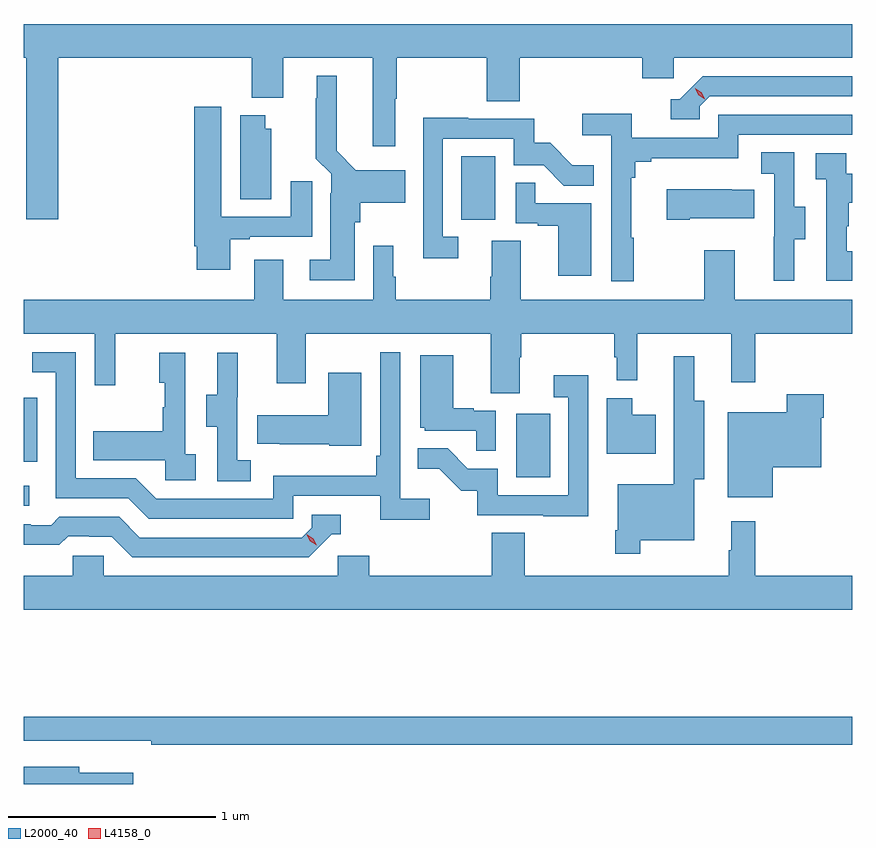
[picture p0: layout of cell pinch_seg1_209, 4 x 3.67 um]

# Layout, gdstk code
import gdstk
lib = gdstk.Library(unit=1e-6, precision=1e-09)
def R(c, l, rs):  # rectangles x0, y0, x1, y1
    for r in rs: c.add(gdstk.rectangle(r[:2], r[2:], *l))
def P(c, l, *ps):  # polygons
    for p in ps: c.add(gdstk.Polygon(p, *l))
L2000_40 = (2000, 40)
L4158_0 = (4158, 0)

pinch_seg1_209 = lib.new_cell('pinch_seg1_209')
R(pinch_seg1_209, L2000_40, [(984.163,576.21,984.19,576.306), (986.54,576.348,986.704,576.655), (984.163,576.423,984.228,576.732), (986.276,577.59,986.44,577.897)])
P(pinch_seg1_209, L2000_40, [(984.329,578.372),(985.265,578.372),(985.265,578.18),(985.417,578.18),(985.417,578.372),(985.847,578.372),(985.847,577.947),(985.957,577.947),(985.957,578.176),(985.965,578.176),(985.965,578.372),(986.398,578.372),(986.398,578.164),(986.558,578.164),(986.558,578.372),(987.149,578.372),(987.149,578.274),(987.3,578.274),(987.3,578.372),(988.163,578.372),(988.163,578.536),(984.163,578.536),(984.163,578.372),(984.176,578.372),(984.176,577.593),(984.329,577.593)],
  [(985.762,577.578),(985.788,577.578),(985.788,577.673),(986.005,577.673),(986.005,577.831),(985.767,577.831),(985.675,577.924),(985.675,578.287),(985.577,578.287),(985.577,578.177),(985.573,578.177),(985.573,577.886),(985.647,577.812),(985.647,577.718),(985.643,577.718),(985.643,577.399),(985.545,577.399),(985.545,577.298),(985.762,577.298)],
  [(987.426,578.139),(987.474,578.187),(988.163,578.187),(988.163,578.283),(987.441,578.283),(987.33,578.172),(987.287,578.172),(987.287,578.076),(987.426,578.076)],
  [(985.159,577.497),(985.255,577.497),(985.255,577.509),(985.555,577.509),(985.555,577.777),(985.451,577.777),(985.451,577.605),(985.117,577.605),(985.117,578.137),(984.986,578.137),(984.986,577.462),(984.998,577.462),(984.998,577.35),(985.159,577.35)],
  [(987.109,577.505),(987.097,577.505),(987.097,577.793),(987.116,577.793),(987.116,577.87),(987.193,577.87),(987.193,577.889),(987.612,577.889),(987.612,578.001),(988.163,578.001),(988.163,578.097),(987.516,578.097),(987.516,577.986),(987.098,577.986),(987.098,578.102),(986.859,578.102),(986.859,578),(987,578),(987,577.293),(987.109,577.293)],
  [(985.357,578.031),(985.33,578.031),(985.33,578.095),(985.208,578.095),(985.208,577.69),(985.357,577.69)],
  [(986.26,577.509),(986.187,577.509),(986.187,577.983),(986.529,577.983),(986.529,577.854),(986.673,577.854),(986.771,577.756),(986.915,577.756),(986.915,577.855),(986.811,577.855),(986.704,577.962),(986.628,577.962),(986.628,578.079),(986.309,578.079),(986.309,578.084),(986.091,578.084),(986.091,577.404),(986.26,577.404)],
  [(987.883,577.498),(987.937,577.498),(987.937,577.653),(987.882,577.653),(987.882,577.916),(987.723,577.916),(987.723,577.813),(987.786,577.813),(987.786,577.509),(987.785,577.509),(987.785,577.296),(987.883,577.296)],
  [(988.162,577.44),(988.137,577.44),(988.137,577.559),(988.147,577.559),(988.147,577.673),(988.163,577.673),(988.163,577.813),(988.134,577.813),(988.134,577.911),(987.987,577.911),(987.987,577.787),(988.038,577.787),(988.038,577.296),(988.162,577.296)],
  [(986.902,577.671),(986.633,577.671),(986.633,577.769),(986.538,577.769),(986.538,577.575),(986.645,577.575),(986.645,577.563),(986.744,577.563),(986.744,577.32),(986.902,577.32)],
  [(987.379,577.598),(987.689,577.598),(987.689,577.735),(987.581,577.735),(987.581,577.738),(987.267,577.738),(987.267,577.591),(987.379,577.591)],
  [(986.557,576.928),(986.565,576.928),(986.565,577.04),(987.015,577.04),(987.015,576.928),(987.026,576.928),(987.026,576.815),(987.125,576.815),(987.125,577.04),(987.578,577.04),(987.578,576.807),(987.695,576.807),(987.695,577.04),(988.163,577.04),(988.163,577.204),(987.595,577.204),(987.595,577.444),(987.448,577.444),(987.448,577.204),(986.563,577.204),(986.563,577.49),(986.423,577.49),(986.423,577.316),(986.416,577.316),(986.416,577.204),(985.96,577.204),(985.96,577.316),(985.948,577.316),(985.948,577.465),(985.851,577.465),(985.851,577.204),(985.417,577.204),(985.417,577.399),(985.277,577.399),(985.277,577.204),(984.163,577.204),(984.163,577.04),(984.507,577.04),(984.507,576.792),(984.605,576.792),(984.605,577.04),(985.385,577.04),(985.385,576.801),(985.525,576.801),(985.525,577.04),(986.417,577.04),(986.417,576.754),(986.557,576.754)],
  [(986.122,576.244),(985.98,576.244),(985.98,576.952),(985.884,576.952),(985.884,576.451),(985.864,576.451),(985.864,576.355),(985.368,576.355),(985.368,576.243),(984.804,576.243),(984.705,576.342),(984.414,576.342),(984.414,576.951),(984.205,576.951),(984.205,576.855),(984.318,576.855),(984.318,576.246),(984.668,576.246),(984.767,576.147),(985.464,576.147),(985.464,576.258),(985.883,576.258),(985.883,576.142),(986.122,576.142)],
  [(984.994,576.458),(984.942,576.458),(984.942,576.949),(984.818,576.949),(984.818,576.804),(984.844,576.804),(984.844,576.686),(984.834,576.686),(984.834,576.571),(984.499,576.571),(984.499,576.431),(984.846,576.431),(984.846,576.333),(984.994,576.333)],
  [(985.258,576.431),(985.194,576.431),(985.194,576.735),(985.196,576.735),(985.196,576.949),(985.097,576.949),(985.097,576.747),(985.043,576.747),(985.043,576.592),(985.098,576.592),(985.098,576.328),(985.258,576.328)],
  [(986.442,576.669),(986.336,576.669),(986.336,576.682),(986.236,576.682),(986.236,576.937),(986.078,576.937),(986.078,576.588),(986.1,576.588),(986.1,576.573),(986.347,576.573),(986.347,576.475),(986.442,576.475)],
  [(987.139,576.044),(987.4,576.044),(987.4,576.338),(987.448,576.338),(987.448,576.718),(987.401,576.718),(987.401,576.931),(987.302,576.931),(987.302,576.313),(987.03,576.313),(987.03,576.091),(987.018,576.091),(987.018,575.979),(987.139,575.979)],
  [(985.792,576.853),(985.634,576.853),(985.634,576.646),(985.291,576.646),(985.291,576.509),(985.399,576.509),(985.399,576.506),(985.638,576.506),(985.638,576.5),(985.792,576.5)],
  [(986.889,576.841),(986.721,576.841),(986.721,576.735),(986.793,576.735),(986.793,576.261),(986.451,576.261),(986.451,576.39),(986.307,576.39),(986.209,576.488),(986.065,576.488),(986.065,576.389),(986.169,576.389),(986.276,576.282),(986.353,576.282),(986.353,576.165),(986.671,576.165),(986.671,576.16),(986.889,576.16)],
  [(987.778,576.395),(988.012,576.395),(988.012,576.635),(988.025,576.635),(988.025,576.748),(987.847,576.748),(987.847,576.661),(987.563,576.661),(987.563,576.251),(987.778,576.251)],
  [(987.214,576.649),(987.1,576.649),(987.1,576.73),(986.978,576.73),(986.978,576.461),(987.214,576.461)],
  [(985.65,576.072),(985.693,576.072),(985.693,576.168),(985.554,576.168),(985.554,576.105),(985.506,576.057),(984.723,576.057),(984.624,576.156),(984.335,576.156),(984.296,576.117),(984.197,576.117),(984.197,576.12),(984.163,576.12),(984.163,576.021),(984.335,576.021),(984.377,576.063),(984.48,576.063),(984.48,576.06),(984.587,576.06),(984.686,575.961),(985.539,575.961)],
  [(988.163,575.872),(987.695,575.872),(987.695,576.136),(987.578,576.136),(987.578,575.996),(987.567,575.996),(987.567,575.872),(986.583,575.872),(986.583,576.08),(986.423,576.08),(986.423,575.872),(985.832,575.872),(985.832,575.97),(985.68,575.97),(985.68,575.872),(984.549,575.872),(984.549,575.97),(984.399,575.97),(984.399,575.872),(984.163,575.872),(984.163,575.708),(988.163,575.708)],
  [(988.163,575.192),(984.163,575.192),(984.163,575.076),(984.526,575.076),(984.526,575.075),(984.778,575.075),(984.778,575.056),(988.163,575.056)],
  [(984.691,574.921),(984.43,574.921),(984.43,574.95),(984.163,574.95),(984.163,574.867),(984.691,574.867)])
P(pinch_seg1_209, L4158_0, [(987.451,578.173),(987.42,578.194),(987.404,578.226),(987.404,578.227),(987.404,578.227),(987.435,578.207),(987.451,578.174),(987.451,578.173)],
  [(985.577,576.019),(985.546,576.038),(985.53,576.071),(985.53,576.072),(985.53,576.072),(985.561,576.052),(985.577,576.019),(985.577,576.019)])

lib.write_gds('pinch_seg1_209.gds')
